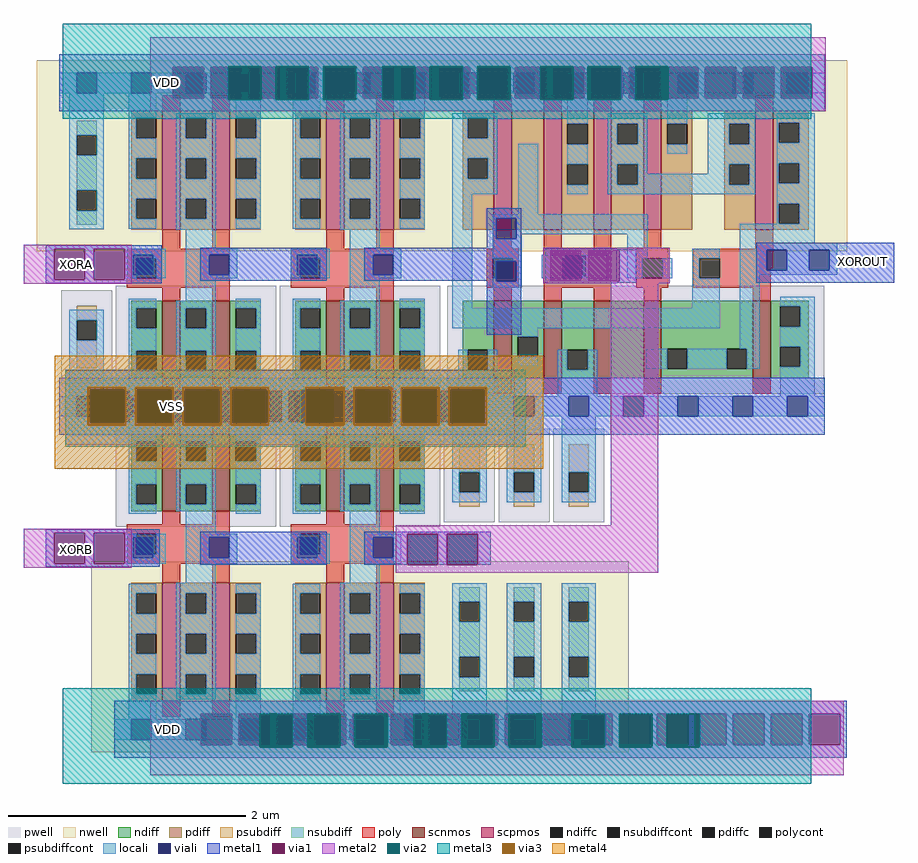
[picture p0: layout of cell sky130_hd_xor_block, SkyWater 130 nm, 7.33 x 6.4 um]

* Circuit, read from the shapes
.subckt sky130_hd_xor_block VDD VSS XORA XORB XOROUT
XM1 sky130_hd_inv_1_0/A XORB VSS VSS sky130_fd_pr__nfet_01v8 w=0.65 l=0.15 m=2
XM2 sky130_hd_inv_1_3/A XORA VSS VSS sky130_fd_pr__nfet_01v8 w=0.65 l=0.15 m=2
XM3 sky130_hd_xor2_1_0/A sky130_hd_inv_1_0/A VSS VSS sky130_fd_pr__nfet_01v8 w=0.65 l=0.15 m=2
XM4 sky130_hd_xor2_1_0/B sky130_hd_inv_1_3/A VSS VSS sky130_fd_pr__nfet_01v8 w=0.65 l=0.15 m=2
XM5 n1 sky130_hd_xor2_1_0/B VSS VSS sky130_fd_pr__nfet_01v8 w=0.65 l=0.15
XM6 VSS sky130_hd_xor2_1_0/A n1 VSS sky130_fd_pr__nfet_01v8 w=0.65 l=0.15
XM7 n2 sky130_hd_xor2_1_0/A VSS VSS sky130_fd_pr__nfet_01v8 w=0.65 l=0.15
XM8 XOROUT sky130_hd_xor2_1_0/B n2 VSS sky130_fd_pr__nfet_01v8 w=0.65 l=0.15
XM9 VSS n1 XOROUT VSS sky130_fd_pr__nfet_01v8 w=0.65 l=0.15
XM10 sky130_hd_inv_1_0/A XORB VDD VDD sky130_fd_pr__pfet_01v8 w=1 l=0.15 m=2
XM11 sky130_hd_inv_1_3/A XORA VDD VDD sky130_fd_pr__pfet_01v8 w=1 l=0.15 m=2
XM12 sky130_hd_xor2_1_0/A sky130_hd_inv_1_0/A VDD VDD sky130_fd_pr__pfet_01v8 w=1 l=0.15 m=2
XM13 sky130_hd_xor2_1_0/B sky130_hd_inv_1_3/A VDD VDD sky130_fd_pr__pfet_01v8 w=1 l=0.15 m=2
XM14 n3 sky130_hd_xor2_1_0/B n1 VDD sky130_fd_pr__pfet_01v8 w=1 l=0.15
XM15 VDD sky130_hd_xor2_1_0/A n3 VDD sky130_fd_pr__pfet_01v8 w=1 l=0.15
XM16 n4 sky130_hd_xor2_1_0/A VDD VDD sky130_fd_pr__pfet_01v8 w=1 l=0.15
XM17 VDD sky130_hd_xor2_1_0/B n4 VDD sky130_fd_pr__pfet_01v8 w=1 l=0.15
XM18 XOROUT n1 n4 VDD sky130_fd_pr__pfet_01v8 w=1 l=0.15
.ends

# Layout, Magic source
magic
tech sky130A
magscale 1 2
<< locali >>
rect 22 252 23 372
rect 394 195 526 205
rect 396 193 526 195
rect 396 159 407 193
rect 441 159 479 193
rect 513 159 526 193
rect 396 151 526 159
<< viali >>
rect 407 159 441 193
rect 479 159 513 193
<< metal1 >>
rect -622 457 -592 491
rect -806 195 -611 201
rect -806 143 -792 195
rect -740 143 -725 195
rect -673 143 -611 195
rect -806 137 -611 143
rect 42 192 188 194
rect 42 140 43 192
rect 95 140 107 192
rect 159 140 188 192
rect 42 138 188 140
rect 390 193 622 205
rect 390 159 407 193
rect 441 159 479 193
rect 513 159 622 193
rect 390 138 622 159
rect -601 -87 -589 -53
rect -806 -283 -614 -277
rect -806 -335 -792 -283
rect -740 -335 -725 -283
rect -673 -335 -614 -283
rect -806 -340 -614 -335
rect -368 -588 -92 -566
rect 131 -588 542 -566
rect -619 -631 -584 -597
rect -365 -640 -353 -588
rect -301 -640 -289 -588
rect -237 -640 -225 -588
rect -173 -640 -161 -588
rect -109 -640 -97 -588
rect 147 -640 159 -588
rect 211 -640 223 -588
rect 275 -640 287 -588
rect 339 -640 351 -588
rect 403 -640 415 -588
rect 467 -640 479 -588
rect 531 -640 542 -588
rect -368 -662 -92 -640
rect 131 -662 542 -640
<< via1 >>
rect -592 448 -540 500
rect -528 448 -476 500
rect -464 448 -412 500
rect -400 448 -348 500
rect -336 448 -284 500
rect -272 448 -220 500
rect -208 448 -156 500
rect -144 448 -92 500
rect -80 448 -28 500
rect -16 448 36 500
rect 48 448 100 500
rect 112 448 164 500
rect 176 448 228 500
rect 240 448 292 500
rect 304 448 356 500
rect 368 448 420 500
rect 432 448 484 500
rect -792 143 -740 195
rect -725 143 -673 195
rect 43 140 95 192
rect 107 140 159 192
rect -717 -96 -665 -44
rect -653 -96 -601 -44
rect -589 -96 -537 -44
rect -525 -96 -473 -44
rect -461 -96 -409 -44
rect -397 -96 -345 -44
rect -333 -96 -281 -44
rect -269 -96 -217 -44
rect -205 -96 -153 -44
rect -141 -96 -89 -44
rect -792 -335 -740 -283
rect -725 -335 -673 -283
rect -198 -337 -146 -285
rect -131 -337 -79 -285
rect -545 -640 -493 -588
rect -481 -640 -429 -588
rect -417 -640 -365 -588
rect -353 -640 -301 -588
rect -289 -640 -237 -588
rect -225 -640 -173 -588
rect -161 -640 -109 -588
rect -97 -640 -45 -588
rect -33 -640 19 -588
rect 31 -640 83 -588
rect 95 -640 147 -588
rect 159 -640 211 -588
rect 223 -640 275 -588
rect 287 -640 339 -588
rect 351 -640 403 -588
rect 415 -640 467 -588
rect 479 -640 531 -588
<< metal2 >>
rect -630 502 507 551
rect -630 500 -499 502
rect -443 500 -419 502
rect -363 500 -339 502
rect -283 500 -240 502
rect -184 500 -160 502
rect -104 500 -80 502
rect -24 500 26 502
rect 82 500 106 502
rect 162 500 186 502
rect 242 500 507 502
rect -630 448 -592 500
rect -540 448 -528 500
rect -348 448 -339 500
rect -283 448 -272 500
rect -92 448 -80 500
rect -24 448 -16 500
rect 100 448 106 500
rect 164 448 176 500
rect 292 448 304 500
rect 356 448 368 500
rect 420 448 432 500
rect 484 448 507 500
rect -630 446 -499 448
rect -443 446 -419 448
rect -363 446 -339 448
rect -283 446 -240 448
rect -184 446 -160 448
rect -104 446 -80 448
rect -24 446 26 448
rect 82 446 106 448
rect 162 446 186 448
rect 242 446 507 448
rect -630 426 507 446
rect -843 195 -661 202
rect -843 143 -792 195
rect -740 143 -725 195
rect -673 143 -661 195
rect -843 136 -661 143
rect 159 140 225 171
rect -772 -42 -17 -10
rect -772 -98 -731 -42
rect -675 -44 -651 -42
rect -595 -44 -571 -42
rect -515 -44 -491 -42
rect -435 -44 -377 -42
rect -321 -44 -284 -42
rect -228 -44 -204 -42
rect -148 -44 -124 -42
rect -665 -96 -653 -44
rect -595 -96 -589 -44
rect -409 -96 -397 -44
rect -217 -96 -205 -44
rect -148 -96 -141 -44
rect -675 -98 -651 -96
rect -595 -98 -571 -96
rect -515 -98 -491 -96
rect -435 -98 -377 -96
rect -321 -98 -284 -96
rect -228 -98 -204 -96
rect -148 -98 -124 -96
rect -68 -98 -17 -42
rect -772 -135 -17 -98
rect 145 -270 225 140
rect -843 -283 -661 -276
rect -843 -335 -792 -283
rect -740 -335 -725 -283
rect -673 -335 -661 -283
rect -843 -342 -661 -335
rect -217 -285 225 -270
rect -217 -337 -198 -285
rect -146 -337 -131 -285
rect -79 -337 225 -285
rect -217 -350 225 -337
rect -630 -588 537 -566
rect -630 -640 -545 -588
rect -493 -640 -481 -588
rect -301 -640 -289 -588
rect -230 -640 -225 -588
rect -109 -640 -107 -588
rect -45 -640 -33 -588
rect 29 -640 31 -588
rect 147 -640 159 -588
rect 215 -640 223 -588
rect 339 -640 351 -588
rect 403 -640 415 -588
rect 467 -640 479 -588
rect 531 -640 537 -588
rect -630 -644 -446 -640
rect -390 -644 -366 -640
rect -310 -644 -286 -640
rect -230 -644 -187 -640
rect -131 -644 -107 -640
rect -51 -644 -27 -640
rect 29 -644 79 -640
rect 135 -644 159 -640
rect 215 -644 239 -640
rect 295 -644 537 -640
rect -630 -691 537 -644
<< via2 >>
rect -499 500 -443 502
rect -419 500 -363 502
rect -339 500 -283 502
rect -240 500 -184 502
rect -160 500 -104 502
rect -80 500 -24 502
rect 26 500 82 502
rect 106 500 162 502
rect 186 500 242 502
rect -499 448 -476 500
rect -476 448 -464 500
rect -464 448 -443 500
rect -419 448 -412 500
rect -412 448 -400 500
rect -400 448 -363 500
rect -339 448 -336 500
rect -336 448 -284 500
rect -284 448 -283 500
rect -240 448 -220 500
rect -220 448 -208 500
rect -208 448 -184 500
rect -160 448 -156 500
rect -156 448 -144 500
rect -144 448 -104 500
rect -80 448 -28 500
rect -28 448 -24 500
rect 26 448 36 500
rect 36 448 48 500
rect 48 448 82 500
rect 106 448 112 500
rect 112 448 162 500
rect 186 448 228 500
rect 228 448 240 500
rect 240 448 242 500
rect -499 446 -443 448
rect -419 446 -363 448
rect -339 446 -283 448
rect -240 446 -184 448
rect -160 446 -104 448
rect -80 446 -24 448
rect 26 446 82 448
rect 106 446 162 448
rect 186 446 242 448
rect -731 -44 -675 -42
rect -651 -44 -595 -42
rect -571 -44 -515 -42
rect -491 -44 -435 -42
rect -377 -44 -321 -42
rect -284 -44 -228 -42
rect -204 -44 -148 -42
rect -124 -44 -68 -42
rect -731 -96 -717 -44
rect -717 -96 -675 -44
rect -651 -96 -601 -44
rect -601 -96 -595 -44
rect -571 -96 -537 -44
rect -537 -96 -525 -44
rect -525 -96 -515 -44
rect -491 -96 -473 -44
rect -473 -96 -461 -44
rect -461 -96 -435 -44
rect -377 -96 -345 -44
rect -345 -96 -333 -44
rect -333 -96 -321 -44
rect -284 -96 -281 -44
rect -281 -96 -269 -44
rect -269 -96 -228 -44
rect -204 -96 -153 -44
rect -153 -96 -148 -44
rect -124 -96 -89 -44
rect -89 -96 -68 -44
rect -731 -98 -675 -96
rect -651 -98 -595 -96
rect -571 -98 -515 -96
rect -491 -98 -435 -96
rect -377 -98 -321 -96
rect -284 -98 -228 -96
rect -204 -98 -148 -96
rect -124 -98 -68 -96
rect -446 -640 -429 -588
rect -429 -640 -417 -588
rect -417 -640 -390 -588
rect -366 -640 -365 -588
rect -365 -640 -353 -588
rect -353 -640 -310 -588
rect -286 -640 -237 -588
rect -237 -640 -230 -588
rect -187 -640 -173 -588
rect -173 -640 -161 -588
rect -161 -640 -131 -588
rect -107 -640 -97 -588
rect -97 -640 -51 -588
rect -27 -640 19 -588
rect 19 -640 29 -588
rect 79 -640 83 -588
rect 83 -640 95 -588
rect 95 -640 135 -588
rect 159 -640 211 -588
rect 211 -640 215 -588
rect 239 -640 275 -588
rect 275 -640 287 -588
rect 287 -640 295 -588
rect -446 -644 -390 -640
rect -366 -644 -310 -640
rect -286 -644 -230 -640
rect -187 -644 -131 -640
rect -107 -644 -51 -640
rect -27 -644 29 -640
rect 79 -644 135 -640
rect 159 -644 215 -640
rect 239 -644 295 -640
<< metal3 >>
rect -777 502 482 574
rect -777 446 -499 502
rect -443 446 -419 502
rect -363 446 -339 502
rect -283 446 -240 502
rect -184 446 -160 502
rect -104 446 -80 502
rect -24 446 26 502
rect 82 446 106 502
rect 162 446 186 502
rect 242 446 482 502
rect -777 414 482 446
rect -773 -38 2 -9
rect -773 -102 -735 -38
rect -671 -102 -655 -38
rect -591 -102 -575 -38
rect -511 -102 -495 -38
rect -431 -42 -368 -38
rect -431 -98 -377 -42
rect -431 -102 -368 -98
rect -304 -102 -288 -38
rect -224 -102 -208 -38
rect -144 -102 -128 -38
rect -64 -102 2 -38
rect -773 -138 2 -102
rect -777 -588 482 -545
rect -777 -644 -446 -588
rect -390 -644 -366 -588
rect -310 -644 -286 -588
rect -230 -644 -187 -588
rect -131 -644 -107 -588
rect -51 -644 -27 -588
rect 29 -644 79 -588
rect 135 -644 159 -588
rect 215 -644 239 -588
rect 295 -644 482 -588
rect -777 -705 482 -644
<< via3 >>
rect -735 -42 -671 -38
rect -735 -98 -731 -42
rect -731 -98 -675 -42
rect -675 -98 -671 -42
rect -735 -102 -671 -98
rect -655 -42 -591 -38
rect -655 -98 -651 -42
rect -651 -98 -595 -42
rect -595 -98 -591 -42
rect -655 -102 -591 -98
rect -575 -42 -511 -38
rect -575 -98 -571 -42
rect -571 -98 -515 -42
rect -515 -98 -511 -42
rect -575 -102 -511 -98
rect -495 -42 -431 -38
rect -368 -42 -304 -38
rect -495 -98 -491 -42
rect -491 -98 -435 -42
rect -435 -98 -431 -42
rect -368 -98 -321 -42
rect -321 -98 -304 -42
rect -495 -102 -431 -98
rect -368 -102 -304 -98
rect -288 -42 -224 -38
rect -288 -98 -284 -42
rect -284 -98 -228 -42
rect -228 -98 -224 -42
rect -288 -102 -224 -98
rect -208 -42 -144 -38
rect -208 -98 -204 -42
rect -204 -98 -148 -42
rect -148 -98 -144 -42
rect -208 -102 -144 -98
rect -128 -42 -64 -38
rect -128 -98 -124 -42
rect -124 -98 -68 -42
rect -68 -98 -64 -42
rect -128 -102 -64 -98
<< metal4 >>
rect -791 -38 31 15
rect -791 -102 -735 -38
rect -671 -102 -655 -38
rect -591 -102 -575 -38
rect -511 -102 -495 -38
rect -431 -102 -368 -38
rect -304 -102 -288 -38
rect -224 -102 -208 -38
rect -144 -102 -128 -38
rect -64 -102 31 -38
rect -791 -175 31 -102
use sky130_hd_inv_1  sky130_hd_inv_1_0
transform 1 0 -415 0 -1 -70
box -38 -48 358 592
use sky130_hd_inv_1  sky130_hd_inv_1_1
transform 1 0 -691 0 -1 -70
box -38 -48 358 592
use sky130_hd_inv_1  sky130_hd_inv_1_2
transform 1 0 -691 0 1 -70
box -38 -48 358 592
use sky130_hd_inv_1  sky130_hd_inv_1_3
transform 1 0 -415 0 1 -70
box -38 -48 358 592
use sky130_hd_tapvpwrvgnd_1  sky130_hd_tapvpwrvgnd_1_0
transform -1 0 137 0 -1 -70
box -38 -48 130 592
use sky130_hd_tapvpwrvgnd_1  sky130_hd_tapvpwrvgnd_1_1
transform -1 0 45 0 -1 -70
box -38 -48 130 592
use sky130_hd_tapvpwrvgnd_1  sky130_hd_tapvpwrvgnd_1_2
transform -1 0 -47 0 -1 -70
box -38 -48 130 592
use sky130_hd_tapvpwrvgnd_1  sky130_hd_tapvpwrvgnd_1_3
transform 1 0 -783 0 1 -70
box -38 -48 130 592
use sky130_hd_xor2_1  sky130_hd_xor2_1_0
transform 1 0 -139 0 1 -70
box -38 -48 682 592
<< labels >>
flabel metal1 s -619 -631 -584 -597 2 FreeSans 224 0 0 0 VDD
port 3 nsew
flabel metal1 s -608 -87 -579 -53 2 FreeSans 224 0 0 0 VSS
port 5 nsew
flabel metal1 s -622 457 -585 491 2 FreeSans 224 0 0 0 VDD
port 3 nsew
flabel metal1 s -772 152 -736 184 2 FreeSans 224 0 0 0 XORA
port 7 nsew
flabel metal1 s -769 -326 -738 -298 2 FreeSans 224 0 0 0 XORB
port 9 nsew
flabel metal1 s 554 160 583 188 2 FreeSans 224 0 0 0 XOROUT
port 11 nsew
<< properties >>
string path -1.085 -1.550 0.925 -1.550 0.925 0.855 
<< end >>

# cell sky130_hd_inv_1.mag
magic
tech sky130A
magscale 1 2
<< nwell >>
rect -38 261 314 582
<< pwell >>
rect 3 21 273 203
rect 29 -17 63 21
<< scnmos >>
rect 81 47 111 177
rect 165 47 195 177
<< scpmos >>
rect 81 297 111 497
rect 165 297 195 497
<< ndiff >>
rect 29 165 81 177
rect 29 131 37 165
rect 71 131 81 165
rect 29 93 81 131
rect 29 59 37 93
rect 71 59 81 93
rect 29 47 81 59
rect 111 165 165 177
rect 111 131 121 165
rect 155 131 165 165
rect 111 93 165 131
rect 111 59 121 93
rect 155 59 165 93
rect 111 47 165 59
rect 195 165 247 177
rect 195 131 205 165
rect 239 131 247 165
rect 195 93 247 131
rect 195 59 205 93
rect 239 59 247 93
rect 195 47 247 59
<< pdiff >>
rect 29 485 81 497
rect 29 451 37 485
rect 71 451 81 485
rect 29 417 81 451
rect 29 383 37 417
rect 71 383 81 417
rect 29 349 81 383
rect 29 315 37 349
rect 71 315 81 349
rect 29 297 81 315
rect 111 485 165 497
rect 111 451 121 485
rect 155 451 165 485
rect 111 417 165 451
rect 111 383 121 417
rect 155 383 165 417
rect 111 349 165 383
rect 111 315 121 349
rect 155 315 165 349
rect 111 297 165 315
rect 195 485 247 497
rect 195 451 205 485
rect 239 451 247 485
rect 195 417 247 451
rect 195 383 205 417
rect 239 383 247 417
rect 195 349 247 383
rect 195 315 205 349
rect 239 315 247 349
rect 195 297 247 315
<< ndiffc >>
rect 37 131 71 165
rect 37 59 71 93
rect 121 131 155 165
rect 121 59 155 93
rect 205 131 239 165
rect 205 59 239 93
<< pdiffc >>
rect 37 451 71 485
rect 37 383 71 417
rect 37 315 71 349
rect 121 451 155 485
rect 121 383 155 417
rect 121 315 155 349
rect 205 451 239 485
rect 205 383 239 417
rect 205 315 239 349
<< poly >>
rect 81 497 111 523
rect 165 497 195 523
rect 81 265 111 297
rect 165 265 195 297
rect 21 249 195 265
rect 21 215 37 249
rect 71 215 195 249
rect 21 199 195 215
rect 81 177 111 199
rect 165 177 195 199
rect 81 21 111 47
rect 165 21 195 47
<< polycont >>
rect 37 215 71 249
<< locali >>
rect 0 527 29 561
rect 63 527 121 561
rect 155 527 213 561
rect 247 527 276 561
rect 25 485 71 527
rect 25 451 37 485
rect 25 417 71 451
rect 25 383 37 417
rect 25 349 71 383
rect 25 315 37 349
rect 25 299 71 315
rect 105 485 171 493
rect 105 451 121 485
rect 155 451 171 485
rect 105 417 171 451
rect 105 383 121 417
rect 155 383 171 417
rect 105 349 171 383
rect 105 315 121 349
rect 155 315 171 349
rect 105 297 171 315
rect 205 485 247 527
rect 239 451 247 485
rect 205 417 247 451
rect 239 383 247 417
rect 205 349 247 383
rect 239 315 247 349
rect 205 299 247 315
rect 121 265 171 297
rect 21 255 87 265
rect 21 221 32 255
rect 66 249 87 255
rect 21 215 37 221
rect 71 215 87 249
rect 121 255 207 265
rect 121 221 160 255
rect 194 221 207 255
rect 121 215 207 221
rect 25 165 71 181
rect 121 177 171 215
rect 25 131 37 165
rect 25 93 71 131
rect 25 59 37 93
rect 25 17 71 59
rect 105 165 171 177
rect 105 131 121 165
rect 155 131 171 165
rect 105 93 171 131
rect 105 59 121 93
rect 155 59 171 93
rect 105 51 171 59
rect 205 165 247 181
rect 239 131 247 165
rect 205 93 247 131
rect 239 59 247 93
rect 205 17 247 59
rect 0 -17 29 17
rect 63 -17 121 17
rect 155 -17 213 17
rect 247 -17 276 17
<< viali >>
rect 29 527 63 561
rect 121 527 155 561
rect 213 527 247 561
rect 32 249 66 255
rect 32 221 37 249
rect 37 221 66 249
rect 160 221 194 255
rect 29 -17 63 17
rect 121 -17 155 17
rect 213 -17 247 17
<< metal1 >>
rect 0 561 276 592
rect 0 527 29 561
rect 63 527 121 561
rect 155 527 213 561
rect 247 527 276 561
rect 0 496 276 527
rect 145 255 358 267
rect 145 221 160 255
rect 194 221 358 255
rect 145 211 358 221
rect 0 17 276 48
rect 0 -17 29 17
rect 63 -17 121 17
rect 155 -17 213 17
rect 247 -17 276 17
rect 0 -48 276 -17
<< labels >>
flabel metal1 s 29 527 63 561 0 FreeSans 200 0 0 0 VPWR
port 2 nsew
flabel metal1 s 29 -17 63 17 0 FreeSans 200 0 0 0 VGND
port 3 nsew
flabel locali s 123 221 157 255 0 FreeSans 340 0 0 0 Y
port 5 nsew
flabel locali s 29 221 63 255 0 FreeSans 340 0 0 0 A
port 6 nsew
flabel locali s 121 153 155 187 0 FreeSans 340 0 0 0 Y
port 5 nsew
flabel locali s 121 289 155 323 0 FreeSans 340 0 0 0 Y
port 5 nsew
flabel pwell s 29 -17 63 17 0 FreeSans 200 0 0 0 VNB
port 7 nsew
flabel nwell s 29 527 63 561 0 FreeSans 200 0 0 0 VPB
port 8 nsew
<< properties >>
string FIXED_BBOX 0 0 276 544
string path 0.000 2.720 1.380 2.720 
<< end >>

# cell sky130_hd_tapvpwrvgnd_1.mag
magic
tech sky130A
magscale 1 2
<< nwell >>
rect -38 261 130 582
<< pwell >>
rect 3 38 89 195
<< psubdiff >>
rect 29 145 63 169
rect 29 64 63 111
<< nsubdiff >>
rect 29 456 63 480
rect 29 363 63 422
rect 29 305 63 329
<< psubdiffcont >>
rect 29 111 63 145
<< nsubdiffcont >>
rect 29 422 63 456
rect 29 329 63 363
<< locali >>
rect 0 527 29 561
rect 63 527 92 561
rect 17 456 75 527
rect 17 422 29 456
rect 63 422 75 456
rect 17 363 75 422
rect 17 329 29 363
rect 63 329 75 363
rect 17 298 75 329
rect 17 145 75 162
rect 17 111 29 145
rect 63 111 75 145
rect 17 17 75 111
rect 0 -17 29 17
rect 63 -17 92 17
<< viali >>
rect 29 527 63 561
rect 29 -17 63 17
<< metal1 >>
rect 0 561 92 592
rect 0 527 29 561
rect 63 527 92 561
rect 0 496 92 527
rect 0 17 92 48
rect 0 -17 29 17
rect 63 -17 92 17
rect 0 -48 92 -17
<< labels >>
flabel metal1 s 21 -18 72 20 0 FreeSans 200 0 0 0 VGND
port 2 nsew
flabel metal1 s 22 524 75 553 0 FreeSans 200 0 0 0 VPWR
port 3 nsew
<< properties >>
string FIXED_BBOX 0 0 92 544
<< end >>

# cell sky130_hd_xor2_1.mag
magic
tech sky130A
magscale 1 2
<< nwell >>
rect -38 261 682 582
<< pwell >>
rect 9 21 643 203
rect 29 -17 63 21
<< scnmos >>
rect 87 47 117 177
rect 171 47 201 177
rect 255 47 285 177
rect 339 47 369 177
rect 523 47 553 177
<< scpmos >>
rect 87 297 117 497
rect 171 297 201 497
rect 255 297 285 497
rect 339 297 369 497
rect 527 297 557 497
<< ndiff >>
rect 35 95 87 177
rect 35 61 43 95
rect 77 61 87 95
rect 35 47 87 61
rect 117 117 171 177
rect 117 83 127 117
rect 161 83 171 117
rect 117 47 171 83
rect 201 95 255 177
rect 201 61 211 95
rect 245 61 255 95
rect 201 47 255 61
rect 285 47 339 177
rect 369 97 523 177
rect 369 63 379 97
rect 413 63 479 97
rect 513 63 523 97
rect 369 47 523 63
rect 553 168 617 177
rect 553 134 569 168
rect 603 134 617 168
rect 553 100 617 134
rect 553 66 569 100
rect 603 66 617 100
rect 553 47 617 66
<< pdiff >>
rect 35 485 87 497
rect 35 451 43 485
rect 77 451 87 485
rect 35 417 87 451
rect 35 383 43 417
rect 77 383 87 417
rect 35 297 87 383
rect 117 297 171 497
rect 201 475 255 497
rect 201 441 211 475
rect 245 441 255 475
rect 201 407 255 441
rect 201 373 211 407
rect 245 373 255 407
rect 201 297 255 373
rect 285 475 339 497
rect 285 441 295 475
rect 329 441 339 475
rect 285 407 339 441
rect 285 373 295 407
rect 329 373 339 407
rect 285 297 339 373
rect 369 475 421 497
rect 369 441 379 475
rect 413 441 421 475
rect 369 297 421 441
rect 475 475 527 497
rect 475 441 483 475
rect 517 441 527 475
rect 475 407 527 441
rect 475 373 483 407
rect 517 373 527 407
rect 475 297 527 373
rect 557 477 617 497
rect 557 443 567 477
rect 601 443 617 477
rect 557 409 617 443
rect 557 375 567 409
rect 601 375 617 409
rect 557 341 617 375
rect 557 307 567 341
rect 601 307 617 341
rect 557 297 617 307
<< ndiffc >>
rect 43 61 77 95
rect 127 83 161 117
rect 211 61 245 95
rect 379 63 413 97
rect 479 63 513 97
rect 569 134 603 168
rect 569 66 603 100
<< pdiffc >>
rect 43 451 77 485
rect 43 383 77 417
rect 211 441 245 475
rect 211 373 245 407
rect 295 441 329 475
rect 295 373 329 407
rect 379 441 413 475
rect 483 441 517 475
rect 483 373 517 407
rect 567 443 601 477
rect 567 375 601 409
rect 567 307 601 341
<< poly >>
rect 87 497 117 523
rect 171 497 201 523
rect 255 497 285 523
rect 339 497 369 523
rect 527 497 557 523
rect 87 265 117 297
rect 171 265 201 297
rect 255 265 285 297
rect 339 265 369 297
rect 527 265 557 297
rect 75 249 129 265
rect 75 215 85 249
rect 119 215 129 249
rect 75 199 129 215
rect 171 249 285 265
rect 171 215 202 249
rect 236 215 285 249
rect 171 199 285 215
rect 327 249 381 265
rect 327 215 337 249
rect 371 215 381 249
rect 327 199 381 215
rect 423 249 557 265
rect 423 215 433 249
rect 467 232 557 249
rect 467 215 553 232
rect 423 199 553 215
rect 87 177 117 199
rect 171 177 201 199
rect 255 177 285 199
rect 339 177 369 199
rect 523 177 553 199
rect 87 21 117 47
rect 171 21 201 47
rect 255 21 285 47
rect 339 21 369 47
rect 523 21 553 47
<< polycont >>
rect 85 215 119 249
rect 202 215 236 249
rect 337 215 371 249
rect 433 215 467 249
<< locali >>
rect 0 527 29 561
rect 63 527 121 561
rect 155 527 213 561
rect 247 527 305 561
rect 339 527 397 561
rect 431 527 489 561
rect 523 527 581 561
rect 615 527 644 561
rect 17 485 93 493
rect 17 451 43 485
rect 77 451 93 485
rect 17 417 93 451
rect 211 475 245 527
rect 17 383 43 417
rect 77 383 93 417
rect 17 357 93 383
rect 17 165 51 357
rect 128 323 161 442
rect 211 407 245 441
rect 211 357 245 373
rect 279 475 345 493
rect 279 441 295 475
rect 329 441 345 475
rect 279 407 345 441
rect 379 475 413 527
rect 379 425 413 441
rect 447 475 527 493
rect 447 441 483 475
rect 517 441 527 475
rect 279 373 295 407
rect 329 391 345 407
rect 447 407 527 441
rect 447 391 483 407
rect 329 373 483 391
rect 517 373 527 407
rect 279 357 527 373
rect 563 477 627 493
rect 563 443 567 477
rect 601 443 627 477
rect 563 409 627 443
rect 563 375 567 409
rect 601 375 627 409
rect 563 341 627 375
rect 85 316 346 323
rect 85 282 91 316
rect 125 289 346 316
rect 563 307 567 341
rect 601 307 627 341
rect 125 282 134 289
rect 85 249 134 282
rect 119 244 134 249
rect 85 210 91 215
rect 125 210 134 244
rect 168 253 278 255
rect 168 249 208 253
rect 168 215 202 249
rect 242 219 278 253
rect 236 215 278 219
rect 312 249 346 289
rect 501 273 627 307
rect 421 249 467 265
rect 312 215 337 249
rect 371 215 387 249
rect 421 215 433 249
rect 85 199 134 210
rect 421 165 467 215
rect 17 131 467 165
rect 127 117 161 131
rect 27 61 43 95
rect 77 61 93 95
rect 501 97 535 273
rect 127 67 161 83
rect 27 17 93 61
rect 195 61 211 95
rect 245 61 261 95
rect 344 63 379 97
rect 413 63 479 97
rect 513 63 535 97
rect 569 168 627 184
rect 603 134 627 168
rect 569 100 627 134
rect 603 66 627 100
rect 195 17 261 61
rect 569 17 627 66
rect 0 -17 29 17
rect 63 -17 121 17
rect 155 -17 213 17
rect 247 -17 305 17
rect 339 -17 397 17
rect 431 -17 489 17
rect 523 -17 581 17
rect 615 -17 644 17
<< viali >>
rect 29 527 63 561
rect 121 527 155 561
rect 213 527 247 561
rect 305 527 339 561
rect 397 527 431 561
rect 489 527 523 561
rect 581 527 615 561
rect 91 282 125 316
rect 91 215 119 244
rect 119 215 125 244
rect 91 210 125 215
rect 208 249 242 253
rect 208 219 236 249
rect 236 219 242 249
rect 29 -17 63 17
rect 121 -17 155 17
rect 213 -17 247 17
rect 305 -17 339 17
rect 397 -17 431 17
rect 489 -17 523 17
rect 581 -17 615 17
<< metal1 >>
rect 0 561 644 592
rect 0 527 29 561
rect 63 527 121 561
rect 155 527 213 561
rect 247 527 305 561
rect 339 527 397 561
rect 431 527 489 561
rect 523 527 581 561
rect 615 527 644 561
rect 0 496 644 527
rect 75 316 133 333
rect 75 282 91 316
rect 125 282 133 316
rect 75 244 133 282
rect 75 210 91 244
rect 125 210 133 244
rect 75 120 133 210
rect 174 253 294 265
rect 174 219 208 253
rect 242 219 294 253
rect 174 207 294 219
rect 0 17 644 48
rect 0 -17 29 17
rect 63 -17 121 17
rect 155 -17 213 17
rect 247 -17 305 17
rect 339 -17 397 17
rect 431 -17 489 17
rect 523 -17 581 17
rect 615 -17 644 17
rect 0 -48 644 -17
<< metal2 >>
rect 170 207 383 267
<< labels >>
flabel metal1 s 29 527 63 561 0 FreeSans 200 0 0 0 VPWR
port 2 nsew
flabel metal1 s 29 -17 63 17 0 FreeSans 200 0 0 0 VGND
port 3 nsew
flabel locali s 121 289 155 323 0 FreeSans 200 0 0 0 B
port 5 nsew
flabel locali s 581 289 615 323 0 FreeSans 200 0 0 0 X
port 6 nsew
flabel locali s 213 221 247 255 0 FreeSans 200 0 0 0 A
port 7 nsew
flabel pwell s 29 -17 63 17 0 FreeSans 200 0 0 0 VNB
port 8 nsew
flabel nwell s 29 527 63 561 0 FreeSans 200 0 0 0 VPB
port 9 nsew
rlabel comment s 0 0 0 0 4 xor2_1
<< properties >>
string FIXED_BBOX 0 0 644 544
string path 1.915 1.185 0.850 1.185 
<< end >>
